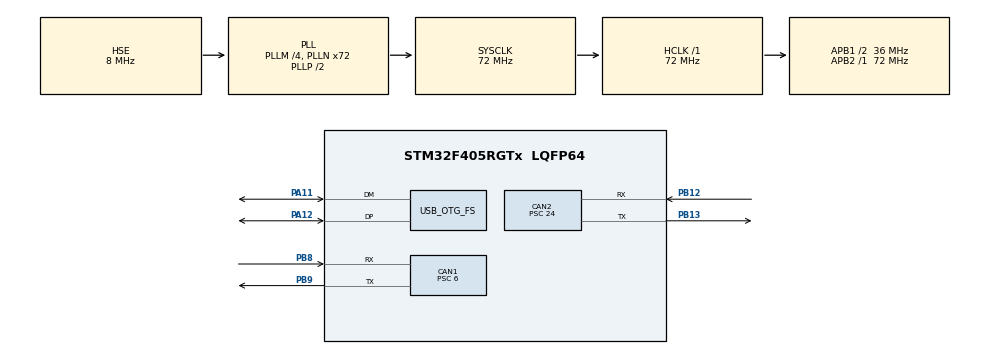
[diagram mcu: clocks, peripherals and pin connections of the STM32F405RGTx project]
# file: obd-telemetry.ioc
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CAN1.BS1=CAN_BS1_11TQ
CAN1.BS2=CAN_BS2_2TQ
CAN1.CalculateBaudRate=428571
CAN1.CalculateTimeBit=2333
CAN1.CalculateTimeQuantum=166.66666666666669
CAN1.Mode=CAN_MODE_SILENT
CAN1.Prescaler=6
CAN2.BS1=CAN_BS1_11TQ
CAN2.BS2=CAN_BS2_2TQ
CAN2.CalculateBaudRate=107142
CAN2.CalculateTimeBit=9333
CAN2.CalculateTimeQuantum=666.6666666666667
CAN2.Prescaler=24
FREERTOS.Tasks01=defaultTask,24,128,StartDefaultTask,Default,NULL,Dynamic,NULL,NULL
Mcu.Family=STM32F4
Mcu.Name=STM32F405RGTx
Mcu.Package=LQFP64
NVIC.CAN1_RX0_IRQn=true\:5\:0\:false\:false\:true\:true\:true\:true\:true
NVIC.CAN2_RX0_IRQn=true\:5\:0\:false\:false\:true\:true\:true\:true\:true
NVIC.OTG_FS_IRQn=true\:5\:0\:false\:false\:true\:true\:false\:true\:true
NVIC.PriorityGroup=NVIC_PRIORITYGROUP_4
NVIC.TIM6_DAC_IRQn=true\:15\:0\:false\:false\:true\:false\:false\:true\:true
NVIC.TimeBase=TIM6_DAC_IRQn
NVIC.TimeBaseIP=TIM6
PA11.Mode=Device_Only
PA11.Signal=USB_OTG_FS_DM
PA12.Mode=Device_Only
PA12.Signal=USB_OTG_FS_DP
PB12.Mode=CAN_Activate
PB12.Signal=CAN2_RX
PB13.Mode=CAN_Activate
PB13.Signal=CAN2_TX
PB8.Mode=CAN_Activate
PB8.Signal=CAN1_RX
PB9.Mode=CAN_Activate
PB9.Signal=CAN1_TX
PH0-OSC_IN.Mode=HSE-External-Oscillator
PH0-OSC_IN.Signal=RCC_OSC_IN
PH1-OSC_OUT.Mode=HSE-External-Oscillator
PH1-OSC_OUT.Signal=RCC_OSC_OUT
ProjectManager.HeapSize=0x200
ProjectManager.StackSize=0x400
ProjectManager.TargetToolchain=EWARM V8.50
RCC.48MHZClocksFreq_Value=48000000
RCC.AHBFreq_Value=72000000
RCC.APB1CLKDivider=RCC_HCLK_DIV2
RCC.APB1Freq_Value=36000000
RCC.APB1TimFreq_Value=72000000
RCC.APB2Freq_Value=72000000
RCC.APB2TimFreq_Value=72000000
RCC.CortexFreq_Value=72000000
RCC.HCLKFreq_Value=72000000
RCC.HSE_VALUE=8000000
RCC.HSI_VALUE=16000000
RCC.LSE_VALUE=32768
RCC.PLLM=4
RCC.PLLN=72
RCC.PLLQ=3
RCC.SYSCLKFreq_VALUE=72000000
RCC.SYSCLKSource=RCC_SYSCLKSOURCE_PLLCLK
RCC.VCOOutputFreq_Value=144000000
USB_DEVICE.CLASS_NAME_FS=CDC
USB_DEVICE.VirtualMode-CDC_FS=Cdc
USB_DEVICE.VirtualModeFS=Cdc_FS
USB_OTG_FS.VirtualMode=Device_Only
VP_FREERTOS_VS_CMSIS_V2.Mode=CMSIS_V2
VP_SYS_VS_tim6.Mode=TIM6
VP_USB_DEVICE_VS_USB_DEVICE_CDC_FS.Mode=CDC_FS
board=custom

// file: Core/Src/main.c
/* USER CODE BEGIN Header */
/**
  ******************************************************************************
  * @file           : main.c
  * @brief          : Main program body
  ******************************************************************************
  * @attention
  *
  * Copyright (c) 2026 STMicroelectronics.
  * All rights reserved.
  *
  * This software is licensed under terms that can be found in the LICENSE file
  * in the root directory of this software component.
  * If no LICENSE file comes with this software, it is provided AS-IS.
  *
  ******************************************************************************
  */
/* USER CODE END Header */
#include "main.h"
#include "cmsis_os.h"
#include "usb_device.h"

CAN_HandleTypeDef hcan1;
CAN_HandleTypeDef hcan2;

/* Definitions for defaultTask */
osThreadId_t defaultTaskHandle;
const osThreadAttr_t defaultTask_attributes = {
  .name = "defaultTask",
  .stack_size = 128 * 4,
  .priority = (osPriority_t) osPriorityNormal,
};

void SystemClock_Config(void);
static void MX_GPIO_Init(void);
static void MX_CAN1_Init(void);
static void MX_CAN2_Init(void);
void StartDefaultTask(void *argument);

int main(void)
{

  /* MCU Configuration--------------------------------------------------------*/

  /* Reset of all peripherals, Initializes the Flash interface and the Systick. */
  HAL_Init();

  /* Configure the system clock */
  SystemClock_Config();

  /* Initialize all configured peripherals */
  MX_GPIO_Init();
  MX_CAN1_Init();
  MX_CAN2_Init();
  /* USER CODE BEGIN 2 */

  CAN_FilterTypeDef f = {0};

  f.FilterActivation      = CAN_FILTER_ENABLE;
  f.FilterBank            = 0;
  f.FilterFIFOAssignment  = CAN_RX_FIFO0;
  f.FilterMode            = CAN_FILTERMODE_IDMASK;
  f.FilterScale           = CAN_FILTERSCALE_32BIT;
  f.FilterIdHigh          = 0x0000;
  f.FilterMaskIdHigh      = 0x0000;
  f.FilterIdLow           = 0x0000;
  f.FilterMaskIdLow       = 0x0000;

  HAL_CAN_ConfigFilter(&hcan1, &f);

  HAL_CAN_Start(&hcan1);
  HAL_CAN_ActivateNotification(&hcan1, CAN_IT_RX_FIFO0_MSG_PENDING);
  /* USER CODE END 2 */

  /* Init scheduler */
  osKernelInitialize();

  /* Create the thread(s) */
  /* creation of defaultTask */
  defaultTaskHandle = osThreadNew(StartDefaultTask, NULL, &defaultTask_attributes);

  /* Start scheduler */
  osKernelStart();

  /* We should never get here as control is now taken by the scheduler */

  /* Infinite loop */
  while (1)
  {

  }
}

void SystemClock_Config(void)
{
  RCC_OscInitTypeDef RCC_OscInitStruct = {0};
  RCC_ClkInitTypeDef RCC_ClkInitStruct = {0};

  /** Configure the main internal regulator output voltage
  */
  __HAL_RCC_PWR_CLK_ENABLE();
  __HAL_PWR_VOLTAGESCALING_CONFIG(PWR_REGULATOR_VOLTAGE_SCALE1);

  /** Initializes the RCC Oscillators according to the specified parameters
  * in the RCC_OscInitTypeDef structure.
  */
  RCC_OscInitStruct.OscillatorType = RCC_OSCILLATORTYPE_HSE;
  RCC_OscInitStruct.HSEState = RCC_HSE_ON;
  RCC_OscInitStruct.PLL.PLLState = RCC_PLL_ON;
  RCC_OscInitStruct.PLL.PLLSource = RCC_PLLSOURCE_HSE;
  RCC_OscInitStruct.PLL.PLLM = 4;
  RCC_OscInitStruct.PLL.PLLN = 72;
  RCC_OscInitStruct.PLL.PLLP = RCC_PLLP_DIV2;
  RCC_OscInitStruct.PLL.PLLQ = 3;
  if (HAL_RCC_OscConfig(&RCC_OscInitStruct) != HAL_OK)
  {
    Error_Handler();
  }

  /** Initializes the CPU, AHB and APB buses clocks
  */
  RCC_ClkInitStruct.ClockType = RCC_CLOCKTYPE_HCLK|RCC_CLOCKTYPE_SYSCLK
                              |RCC_CLOCKTYPE_PCLK1|RCC_CLOCKTYPE_PCLK2;
  RCC_ClkInitStruct.SYSCLKSource = RCC_SYSCLKSOURCE_PLLCLK;
  RCC_ClkInitStruct.AHBCLKDivider = RCC_SYSCLK_DIV1;
  RCC_ClkInitStruct.APB1CLKDivider = RCC_HCLK_DIV2;
  RCC_ClkInitStruct.APB2CLKDivider = RCC_HCLK_DIV1;

  if (HAL_RCC_ClockConfig(&RCC_ClkInitStruct, FLASH_LATENCY_2) != HAL_OK)
  {
    Error_Handler();
  }
}

static void MX_CAN1_Init(void)
{

  hcan1.Instance = CAN1;
  hcan1.Init.Prescaler = 6;
  hcan1.Init.Mode = CAN_MODE_SILENT;
  hcan1.Init.SyncJumpWidth = CAN_SJW_1TQ;
  hcan1.Init.TimeSeg1 = CAN_BS1_11TQ;
  hcan1.Init.TimeSeg2 = CAN_BS2_2TQ;
  hcan1.Init.TimeTriggeredMode = DISABLE;
  hcan1.Init.AutoBusOff = DISABLE;
  hcan1.Init.AutoWakeUp = DISABLE;
  hcan1.Init.AutoRetransmission = DISABLE;
  hcan1.Init.ReceiveFifoLocked = DISABLE;
  hcan1.Init.TransmitFifoPriority = DISABLE;
  if (HAL_CAN_Init(&hcan1) != HAL_OK)
  {
    Error_Handler();
  }

}

static void MX_CAN2_Init(void)
{

  hcan2.Instance = CAN2;
  hcan2.Init.Prescaler = 24;
  hcan2.Init.Mode = CAN_MODE_NORMAL;
  hcan2.Init.SyncJumpWidth = CAN_SJW_1TQ;
  hcan2.Init.TimeSeg1 = CAN_BS1_11TQ;
  hcan2.Init.TimeSeg2 = CAN_BS2_2TQ;
  hcan2.Init.TimeTriggeredMode = DISABLE;
  hcan2.Init.AutoBusOff = DISABLE;
  hcan2.Init.AutoWakeUp = DISABLE;
  hcan2.Init.AutoRetransmission = DISABLE;
  hcan2.Init.ReceiveFifoLocked = DISABLE;
  hcan2.Init.TransmitFifoPriority = DISABLE;
  if (HAL_CAN_Init(&hcan2) != HAL_OK)
  {
    Error_Handler();
  }

}

static void MX_GPIO_Init(void)
{

  /* GPIO Ports Clock Enable */
  __HAL_RCC_GPIOH_CLK_ENABLE();
  __HAL_RCC_GPIOB_CLK_ENABLE();
  __HAL_RCC_GPIOA_CLK_ENABLE();

}

void StartDefaultTask(void *argument)
{
  /* init code for USB_DEVICE */
  MX_USB_DEVICE_Init();
  for(;;)
  {
    osDelay(1);
  }
}

void HAL_TIM_PeriodElapsedCallback(TIM_HandleTypeDef *htim)
{
  if (htim->Instance == TIM6)
  {
    HAL_IncTick();
  }
}

void Error_Handler(void)
{
  __disable_irq();
  while (1)
  {
  }
}

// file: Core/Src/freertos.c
/* USER CODE BEGIN Header */
/**
  ******************************************************************************
  * File Name          : freertos.c
  * Description        : Code for freertos applications
  ******************************************************************************
  * @attention
  *
  * Copyright (c) 2026 STMicroelectronics.
  * All rights reserved.
  *
  * This software is licensed under terms that can be found in the LICENSE file
  * in the root directory of this software component.
  * If no LICENSE file comes with this software, it is provided AS-IS.
  *
  ******************************************************************************
  */
/* USER CODE END Header */

#include "FreeRTOS.h"
#include "task.h"
#include "main.h"
#include "can_handler.h"
#include "usb_handler.h"

/* USER CODE BEGIN RTOS_QUEUES */
q_raw_frames = osMessageQueueNew(32, sizeof(CAN_RawFrame),   NULL);
q_telemetry  = osMessageQueueNew(8,  sizeof(TelemetryFrame), NULL);
q_tx_cmd     = osMessageQueueNew(4,  sizeof(DriveCmd),       NULL);
/* USER CODE END RTOS_QUEUES */

/* USER CODE BEGIN RTOS_THREADS */
osThreadNew(Task_CAN_Decode, NULL,
    &(osThreadAttr_t){ .name="CANDecode", .stack_size=512, .priority=osPriorityHigh });
osThreadNew(Task_USB_TX, NULL,
    &(osThreadAttr_t){ .name="USBTX",     .stack_size=512, .priority=osPriorityNormal });
osThreadNew(Task_Drive_TX, NULL,
    &(osThreadAttr_t){ .name="DriveTX",   .stack_size=256, .priority=osPriorityNormal });
/* USER CODE END RTOS_THREADS */

/* USER CODE BEGIN 4 */

// Task 1: odbiera surowe ramki z ISR, dekoduje, wrzuca zdekodowane do kolejki
void Task_CAN_Decode(void *arg) {
    CAN_RawFrame   raw;
    TelemetryFrame decoded;
    for (;;) {
        if (osMessageQueueGet(q_raw_frames, &raw, NULL, osWaitForever) == osOK) {
            can_decode_and_update(&raw, &decoded);
            // Nadpisuj ostatni element zamiast kolejkować — zawsze świeże dane
            osMessageQueuePut(q_telemetry, &decoded, 0, 0);
        }
    }
}

// Task 2: wysyła JSON przez USB CDC co 20ms
void Task_USB_TX(void *arg) {
    TelemetryFrame frame;
    for (;;) {
        if (osMessageQueueGet(q_telemetry, &frame, NULL, pdMS_TO_TICKS(20)) == osOK) {
            usb_send_telemetry(&frame);
        }
        osDelay(20);
    }
}

// Task 3: odbiera komendy z PC i wysyła ramki TX na CAN
void Task_Drive_TX(void *arg) {
    DriveCmd cmd;
    extern CAN_HandleTypeDef hcan1;
    for (;;) {
        if (osMessageQueueGet(q_tx_cmd, &cmd, NULL, osWaitForever) == osOK) {
            can_send_drive_mode(&hcan1, cmd);
        }
    }
}

/* USER CODE END 4 */
